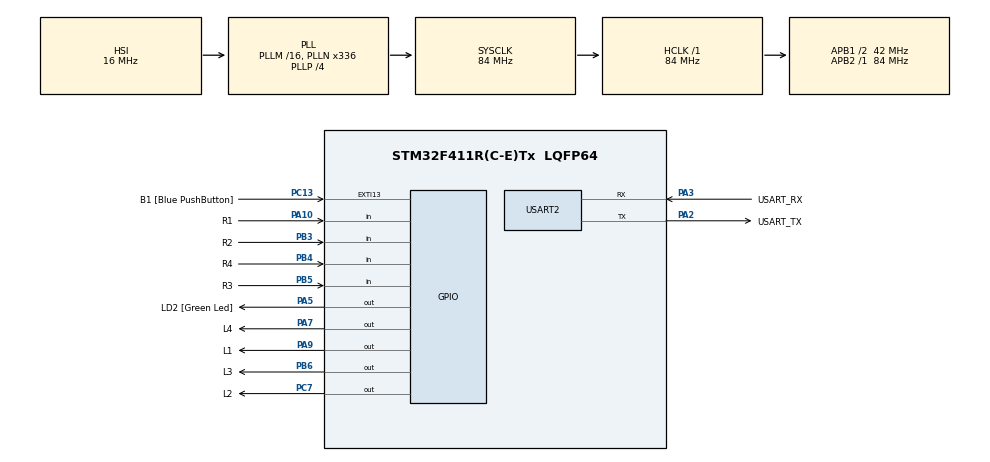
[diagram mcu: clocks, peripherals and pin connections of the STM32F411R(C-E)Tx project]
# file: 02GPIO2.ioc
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Mcu.Family=STM32F4
Mcu.Name=STM32F411R(C-E)Tx
Mcu.Package=LQFP64
NVIC.PriorityGroup=NVIC_PRIORITYGROUP_0
PA10.GPIO_Label=R1
PA10.GPIO_Mode=GPIO_MODE_INPUT
PA10.GPIO_PuPd=GPIO_PULLUP
PA10.Signal=GPIO_Input
PA13.GPIO_Label=TMS
PA13.Mode=Serial_Wire
PA13.Signal=SYS_JTMS-SWDIO
PA14.GPIO_Label=TCK
PA14.Mode=Serial_Wire
PA14.Signal=SYS_JTCK-SWCLK
PA2.GPIO_Label=USART_TX
PA2.Mode=Asynchronous
PA2.Signal=USART2_TX
PA3.GPIO_Label=USART_RX
PA3.Mode=Asynchronous
PA3.Signal=USART2_RX
PA5.GPIO_Label=LD2 [Green Led]
PA5.Signal=GPIO_Output
PA7.GPIO_Label=L4
PA7.GPIO_ModeDefaultOutputPP=GPIO_MODE_OUTPUT_OD
PA7.GPIO_PuPd=GPIO_NOPULL
PA7.Signal=GPIO_Output
PA9.GPIO_Label=L1
PA9.GPIO_ModeDefaultOutputPP=GPIO_MODE_OUTPUT_OD
PA9.GPIO_PuPd=GPIO_NOPULL
PA9.Signal=GPIO_Output
PB3.GPIO_Label=R2
PB3.GPIO_Mode=GPIO_MODE_INPUT
PB3.GPIO_PuPd=GPIO_PULLUP
PB3.Signal=GPIO_Input
PB4.GPIO_Label=R4
PB4.GPIO_Mode=GPIO_MODE_INPUT
PB4.GPIO_PuPd=GPIO_PULLUP
PB4.Signal=GPIO_Input
PB5.GPIO_Label=R3
PB5.GPIO_Mode=GPIO_MODE_INPUT
PB5.GPIO_PuPd=GPIO_PULLUP
PB5.Signal=GPIO_Input
PB6.GPIO_Label=L3
PB6.GPIO_ModeDefaultOutputPP=GPIO_MODE_OUTPUT_OD
PB6.GPIO_PuPd=GPIO_NOPULL
PB6.Signal=GPIO_Output
PC13-ANTI_TAMP.GPIO_Label=B1 [Blue PushButton]
PC13-ANTI_TAMP.GPIO_ModeDefaultEXTI=GPIO_MODE_IT_FALLING
PC13-ANTI_TAMP.Signal=GPXTI13
PC14-OSC32_IN.Mode=LSE-External-Oscillator
PC14-OSC32_IN.Signal=RCC_OSC32_IN
PC15-OSC32_OUT.Mode=LSE-External-Oscillator
PC15-OSC32_OUT.Signal=RCC_OSC32_OUT
PC7.GPIO_Label=L2
PC7.GPIO_ModeDefaultOutputPP=GPIO_MODE_OUTPUT_OD
PC7.GPIO_PuPd=GPIO_NOPULL
PC7.Signal=GPIO_Output
PH0\ -\ OSC_IN.Mode=HSE-External-Clock-Source
PH0\ -\ OSC_IN.Signal=RCC_OSC_IN
PH1\ -\ OSC_OUT.Mode=HSE-External-Clock-Source
PH1\ -\ OSC_OUT.Signal=RCC_OSC_OUT
ProjectManager.HeapSize=0x200
ProjectManager.StackSize=0x400
ProjectManager.TargetToolchain=STM32CubeIDE
RCC.48MHZClocksFreq_Value=84000000
RCC.AHBFreq_Value=84000000
RCC.APB1CLKDivider=RCC_HCLK_DIV2
RCC.APB1Freq_Value=42000000
RCC.APB1TimFreq_Value=84000000
RCC.APB2Freq_Value=84000000
RCC.APB2TimFreq_Value=84000000
RCC.CortexFreq_Value=84000000
RCC.FLatency-AdvancedSettings=FLASH_LATENCY_2
RCC.HCLKFreq_Value=84000000
RCC.HSE_VALUE=8000000
RCC.HSI_VALUE=16000000
RCC.PLLN=336
RCC.PLLP=RCC_PLLP_DIV4
RCC.SYSCLKFreq_VALUE=84000000
RCC.SYSCLKSource=RCC_SYSCLKSOURCE_PLLCLK
RCC.VCOOutputFreq_Value=336000000
USART2.VirtualMode=VM_ASYNC
board=NUCLEO-F411RE

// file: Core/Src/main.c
/* USER CODE BEGIN Header */
/**
 ******************************************************************************
 * @file           : main.c
 * @brief          : Main program body
 ******************************************************************************
 * @attention
 *
 * Copyright (c) 2022 STMicroelectronics.
 * All rights reserved.
 *
 * This software is licensed under terms that can be found in the LICENSE file
 * in the root directory of this software component.
 * If no LICENSE file comes with this software, it is provided AS-IS.
 *
 ******************************************************************************
 */
/* USER CODE END Header */
#include "main.h"

UART_HandleTypeDef huart2;

/* USER CODE BEGIN PV */
uint16_t Buttonstate = 0;
/* USER CODE END PV */

void SystemClock_Config(void);
static void MX_GPIO_Init(void);
static void MX_USART2_UART_Init(void);
/* USER CODE BEGIN PFP */
void ButtonMatrixread();
/* USER CODE END PFP */

int main(void) {

	/* MCU Configuration--------------------------------------------------------*/

	/* Reset of all peripherals, Initializes the Flash interface and the Systick. */
	HAL_Init();

	/* Configure the system clock */
	SystemClock_Config();

	/* Initialize all configured peripherals */
	MX_GPIO_Init();
	MX_USART2_UART_Init();

	/* Infinite loop */
	while (1) {

		/* USER CODE BEGIN 3 */
		ButtonMatrixread();
	}
	/* USER CODE END 3 */
}

void SystemClock_Config(void) {
	RCC_OscInitTypeDef RCC_OscInitStruct = { 0 };
	RCC_ClkInitTypeDef RCC_ClkInitStruct = { 0 };

	/** Configure the main internal regulator output voltage
	 */
	__HAL_RCC_PWR_CLK_ENABLE();
	__HAL_PWR_VOLTAGESCALING_CONFIG(PWR_REGULATOR_VOLTAGE_SCALE1);
	/** Initializes the RCC Oscillators according to the specified parameters
	 * in the RCC_OscInitTypeDef structure.
	 */
	RCC_OscInitStruct.OscillatorType = RCC_OSCILLATORTYPE_HSI;
	RCC_OscInitStruct.HSIState = RCC_HSI_ON;
	RCC_OscInitStruct.HSICalibrationValue = RCC_HSICALIBRATION_DEFAULT;
	RCC_OscInitStruct.PLL.PLLState = RCC_PLL_ON;
	RCC_OscInitStruct.PLL.PLLSource = RCC_PLLSOURCE_HSI;
	RCC_OscInitStruct.PLL.PLLM = 16;
	RCC_OscInitStruct.PLL.PLLN = 336;
	RCC_OscInitStruct.PLL.PLLP = RCC_PLLP_DIV4;
	RCC_OscInitStruct.PLL.PLLQ = 4;
	if (HAL_RCC_OscConfig(&RCC_OscInitStruct) != HAL_OK) {
		Error_Handler();
	}
	/** Initializes the CPU, AHB and APB buses clocks
	 */
	RCC_ClkInitStruct.ClockType = RCC_CLOCKTYPE_HCLK | RCC_CLOCKTYPE_SYSCLK
			| RCC_CLOCKTYPE_PCLK1 | RCC_CLOCKTYPE_PCLK2;
	RCC_ClkInitStruct.SYSCLKSource = RCC_SYSCLKSOURCE_PLLCLK;
	RCC_ClkInitStruct.AHBCLKDivider = RCC_SYSCLK_DIV1;
	RCC_ClkInitStruct.APB1CLKDivider = RCC_HCLK_DIV2;
	RCC_ClkInitStruct.APB2CLKDivider = RCC_HCLK_DIV1;

	if (HAL_RCC_ClockConfig(&RCC_ClkInitStruct, FLASH_LATENCY_2) != HAL_OK) {
		Error_Handler();
	}
}

static void MX_USART2_UART_Init(void) {

	huart2.Instance = USART2;
	huart2.Init.BaudRate = 115200;
	huart2.Init.WordLength = UART_WORDLENGTH_8B;
	huart2.Init.StopBits = UART_STOPBITS_1;
	huart2.Init.Parity = UART_PARITY_NONE;
	huart2.Init.Mode = UART_MODE_TX_RX;
	huart2.Init.HwFlowCtl = UART_HWCONTROL_NONE;
	huart2.Init.OverSampling = UART_OVERSAMPLING_16;
	if (HAL_UART_Init(&huart2) != HAL_OK) {
		Error_Handler();
	}

}

static void MX_GPIO_Init(void) {
	GPIO_InitTypeDef GPIO_InitStruct = { 0 };

	/* GPIO Ports Clock Enable */
	__HAL_RCC_GPIOC_CLK_ENABLE();
	__HAL_RCC_GPIOH_CLK_ENABLE();
	__HAL_RCC_GPIOA_CLK_ENABLE();
	__HAL_RCC_GPIOB_CLK_ENABLE();

	/*Configure GPIO pin Output Level */
	HAL_GPIO_WritePin(GPIOA, LD2_Pin | L4_Pin | L1_Pin, GPIO_PIN_RESET);

	/*Configure GPIO pin Output Level */
	HAL_GPIO_WritePin(L2_GPIO_Port, L2_Pin, GPIO_PIN_RESET);

	/*Configure GPIO pin Output Level */
	HAL_GPIO_WritePin(L3_GPIO_Port, L3_Pin, GPIO_PIN_RESET);

	/*Configure GPIO pin : B1_Pin */
	GPIO_InitStruct.Pin = B1_Pin;
	GPIO_InitStruct.Mode = GPIO_MODE_IT_FALLING;
	GPIO_InitStruct.Pull = GPIO_NOPULL;
	HAL_GPIO_Init(B1_GPIO_Port, &GPIO_InitStruct);

	/*Configure GPIO pin : LD2_Pin */
	GPIO_InitStruct.Pin = LD2_Pin;
	GPIO_InitStruct.Mode = GPIO_MODE_OUTPUT_PP;
	GPIO_InitStruct.Pull = GPIO_NOPULL;
	GPIO_InitStruct.Speed = GPIO_SPEED_FREQ_LOW;
	HAL_GPIO_Init(LD2_GPIO_Port, &GPIO_InitStruct);

	/*Configure GPIO pins : L4_Pin L1_Pin */
	GPIO_InitStruct.Pin = L4_Pin | L1_Pin;
	GPIO_InitStruct.Mode = GPIO_MODE_OUTPUT_OD;
	GPIO_InitStruct.Pull = GPIO_NOPULL;
	GPIO_InitStruct.Speed = GPIO_SPEED_FREQ_LOW;
	HAL_GPIO_Init(GPIOA, &GPIO_InitStruct);

	/*Configure GPIO pin : L2_Pin */
	GPIO_InitStruct.Pin = L2_Pin;
	GPIO_InitStruct.Mode = GPIO_MODE_OUTPUT_OD;
	GPIO_InitStruct.Pull = GPIO_NOPULL;
	GPIO_InitStruct.Speed = GPIO_SPEED_FREQ_LOW;
	HAL_GPIO_Init(L2_GPIO_Port, &GPIO_InitStruct);

	/*Configure GPIO pin : R1_Pin */
	GPIO_InitStruct.Pin = R1_Pin;
	GPIO_InitStruct.Mode = GPIO_MODE_INPUT;
	GPIO_InitStruct.Pull = GPIO_PULLUP;
	HAL_GPIO_Init(R1_GPIO_Port, &GPIO_InitStruct);

	/*Configure GPIO pins : R2_Pin R4_Pin R3_Pin */
	GPIO_InitStruct.Pin = R2_Pin | R4_Pin | R3_Pin;
	GPIO_InitStruct.Mode = GPIO_MODE_INPUT;
	GPIO_InitStruct.Pull = GPIO_PULLUP;
	HAL_GPIO_Init(GPIOB, &GPIO_InitStruct);

	/*Configure GPIO pin : L3_Pin */
	GPIO_InitStruct.Pin = L3_Pin;
	GPIO_InitStruct.Mode = GPIO_MODE_OUTPUT_OD;
	GPIO_InitStruct.Pull = GPIO_NOPULL;
	GPIO_InitStruct.Speed = GPIO_SPEED_FREQ_LOW;
	HAL_GPIO_Init(L3_GPIO_Port, &GPIO_InitStruct);

}

/* USER CODE BEGIN 4 */

GPIO_TypeDef *ButtonMatrixPortR[4] = { R1_GPIO_Port, R2_GPIO_Port, R3_GPIO_Port,
R4_GPIO_Port };
uint16_t ButtonMatrixPinR[4] = { R1_Pin, R2_Pin, R3_Pin, R4_Pin };

GPIO_TypeDef *ButtonMatrixPortL[4] = { L1_GPIO_Port, L2_GPIO_Port, L3_GPIO_Port,
L4_GPIO_Port };
uint16_t ButtonMatrixPinL[4] = { L1_Pin, L2_Pin, L3_Pin, L4_Pin };

void ButtonMatrixread() {
	static uint32_t timestamp = 0;
	static uint8_t CurrentL = 0;
	if (HAL_GetTick() - timestamp >= 100) {
		timestamp = HAL_GetTick();

		for (int i = 0; i < 4; ++i) {

			if (HAL_GPIO_ReadPin(ButtonMatrixPortR[i], ButtonMatrixPinR[i])
					== GPIO_PIN_RESET) // Button press
					{
				//set bit i to 1
				//i calculate form i(R) and CurrentL to set bit that relate to 4x4 button
				Buttonstate |= 1 << (i + (CurrentL * 4));
			} else {
				Buttonstate &= ~(1 << (i + (CurrentL * 4)));

			}
		}
		HAL_GPIO_WritePin(ButtonMatrixPortL[CurrentL],
				ButtonMatrixPinL[CurrentL], GPIO_PIN_SET);
		uint8_t nextL = (CurrentL + 1) % 4;
		HAL_GPIO_WritePin(ButtonMatrixPortL[nextL], ButtonMatrixPinL[nextL],
				GPIO_PIN_RESET);
		CurrentL = nextL;

	}
}
/* USER CODE END 4 */

void Error_Handler(void) {
	__disable_irq();
	while (1) {
	}
}
